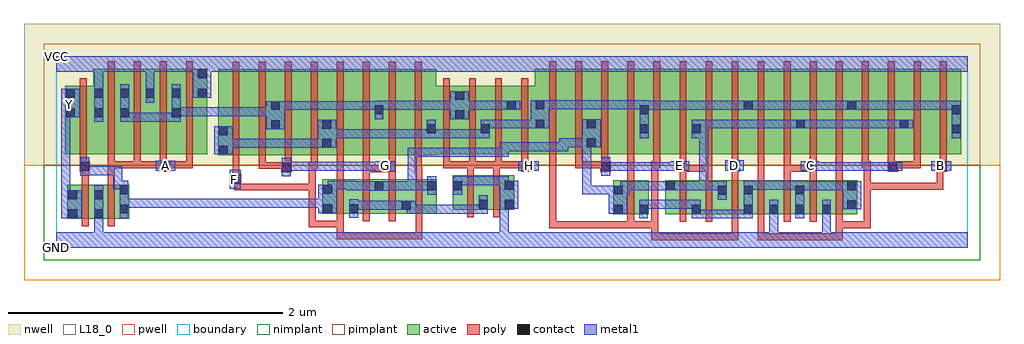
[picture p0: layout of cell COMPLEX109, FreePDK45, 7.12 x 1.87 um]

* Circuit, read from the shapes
.subckt COMPLEX109 A B C D E F G GND H VCC Y
M1 GND n1 Y VSUBS nfet w=0.25u l=0.05u
M2 n1 A GND VSUBS nfet w=0.25u l=0.05u
M3 n2 F n1 VSUBS nfet w=0.25u l=0.05u m=2
M4 n1 G n2 VSUBS nfet w=0.25u l=0.05u m=2
M5 n2 H GND VSUBS nfet w=0.25u l=0.05u m=2
M6 n3 D n1 VSUBS nfet w=0.25u l=0.05u m=2
M7 n3 E n1 VSUBS nfet w=0.25u l=0.05u m=2
M8 GND B n3 VSUBS nfet w=0.25u l=0.05u m=2
M9 n3 C GND VSUBS nfet w=0.25u l=0.05u m=2
M10 VCC n1 Y n4 pfet w=0.5u l=0.05u
M11 n5 A VCC n4 pfet w=0.625u l=0.05u m=4
M12 n6 F n7 n4 pfet w=0.625u l=0.05u
M13 n5 G n6 n4 pfet w=0.625u l=0.05u
M14 n8 G n5 n4 pfet w=0.625u l=0.05u
M15 n7 F n8 n4 pfet w=0.625u l=0.05u
M16 n9 F n7 n4 pfet w=0.625u l=0.05u
M17 n5 G n9 n4 pfet w=0.625u l=0.05u
M18 n10 G n5 n4 pfet w=0.625u l=0.05u
M19 n7 F n10 n4 pfet w=0.625u l=0.05u
M20 n5 H n7 n4 pfet w=0.5u l=0.05u m=4
M21 n11 D n7 n4 pfet w=0.625u l=0.05u
M22 n1 E n11 n4 pfet w=0.625u l=0.05u
M23 n12 E n1 n4 pfet w=0.625u l=0.05u
M24 n7 D n12 n4 pfet w=0.625u l=0.05u
M25 n13 D n7 n4 pfet w=0.625u l=0.05u
M26 n1 E n13 n4 pfet w=0.625u l=0.05u
M27 n14 E n1 n4 pfet w=0.625u l=0.05u
M28 n7 D n14 n4 pfet w=0.625u l=0.05u
M29 n15 B n7 n4 pfet w=0.625u l=0.05u
M30 n1 C n15 n4 pfet w=0.625u l=0.05u
M31 n16 C n1 n4 pfet w=0.625u l=0.05u
M32 n7 B n16 n4 pfet w=0.625u l=0.05u
M33 n17 B n7 n4 pfet w=0.625u l=0.05u
M34 n1 C n17 n4 pfet w=0.625u l=0.05u
M35 n18 C n1 n4 pfet w=0.625u l=0.05u
M36 n7 B n18 n4 pfet w=0.625u l=0.05u
.ends

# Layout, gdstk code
import gdstk
lib = gdstk.Library(unit=1e-6, precision=1e-09)
def R(c, l, rs):  # rectangles x0, y0, x1, y1
    for r in rs: c.add(gdstk.rectangle(r[:2], r[2:], *l))
def A(c, l, x, y, w, h, nx, ny, dx, dy):  # array of equal rectangles
    R(c, l, [(x+i*dx, y+j*dy, x+i*dx+w, y+j*dy+h) for i in range(nx) for j in range(ny)])
active = (1, 0)
pwell = (2, 0)
nwell = (3, 0)
nimplant = (4, 0)
pimplant = (5, 0)
poly = (9, 0)
contact = (10, 0)
metal1 = (11, 0)
L18_0 = (18, 0)
boundary = (235, 0)

complex109 = lib.new_cell('COMPLEX109')
A(complex109, active, 4.442, 0.245, 0.265, 0.25, 3, 1, 0.19, 0)
A(complex109, active, 1.787, 0.677, 0.225, 0.625, 3, 1, 0.38, 0)
A(complex109, active, 4.097, 0.682, 0.23, 0.625, 4, 1, 0.38, 0)
A(complex109, active, 4.252, 0.682, 0.225, 0.625, 4, 1, 0.38, 0)
A(complex109, active, 5.617, 0.682, 0.225, 0.625, 3, 1, 0.38, 0)
R(complex109, active, [(0.082,0.212,0.157,0.462), (0.082,0.212,0.347,0.462), (0.272,0.212,0.532,0.462), (0.272,0.212,0.347,0.427), (4.062,0.245,4.137,0.495), (4.062,0.245,4.322,0.495), (4.247,0.245,4.322,0.495), (4.632,0.245,4.707,0.467), (5.012,0.245,5.272,0.495), (5.012,0.245,5.087,0.46), (5.197,0.245,5.272,0.387), (5.197,0.245,5.462,0.495), (5.387,0.245,5.462,0.495), (5.387,0.245,5.657,0.495), (5.582,0.245,5.842,0.495), (5.582,0.245,5.657,0.387), (5.767,0.245,5.842,0.495), (0.457,0.247,0.532,0.462), (1.942,0.25,2.017,0.5), (1.942,0.25,2.207,0.5), (2.132,0.25,2.392,0.5), (2.132,0.25,2.207,0.387), (2.317,0.25,2.592,0.5), (2.517,0.25,2.777,0.5), (2.517,0.25,2.592,0.405), (2.892,0.28,3.152,0.53), (3.077,0.28,3.342,0.53), (3.077,0.28,3.152,0.355), (3.267,0.28,3.342,0.53), (2.317,0.297,2.392,0.5), (2.702,0.297,2.777,0.5), (2.892,0.297,2.967,0.53), (4.442,0.297,4.517,0.495), (4.822,0.297,4.897,0.457), (1.182,0.677,1.407,1.302), (1.182,0.677,1.287,1.047), (1.407,0.677,1.637,1.302), (1.562,0.677,1.787,1.302), (1.937,0.677,2.167,1.302), (1.937,0.677,2.012,1.07), (2.317,0.677,2.547,1.302), (0.067,0.682,0.142,1.182), (0.067,0.682,0.347,1.182), (0.272,0.682,0.537,1.307), (0.462,0.682,0.537,1.2), (0.462,0.682,0.722,1.307), (0.647,0.682,0.912,1.307), (0.647,0.682,0.722,1.282), (0.837,0.682,0.912,1.2), (0.837,0.682,1.102,1.307), (1.027,0.682,1.102,1.307), (1.562,0.682,1.637,1.2), (2.317,0.682,2.392,1.2), (2.697,0.682,2.98,1.182), (2.905,0.682,3.167,1.182), (3.092,0.682,3.357,1.182), (3.282,0.682,3.567,1.182), (3.492,0.682,3.717,1.307), (3.717,0.682,3.942,1.307), (3.867,0.682,4.097,1.307), (3.867,0.682,3.942,1.07), (4.252,0.682,4.327,1.2), (4.632,0.682,4.707,1.07), (5.012,0.682,5.087,1.2), (5.392,0.682,5.467,1.07), (5.767,0.682,5.842,1.2), (5.767,0.682,5.997,1.307), (6.147,0.682,6.377,1.307), (6.147,0.682,6.222,1.07), (6.527,0.682,6.602,1.2), (2.905,0.72,2.98,1.157), (3.282,0.72,3.357,1.157), (0.272,0.807,0.347,1.307), (2.697,0.807,2.772,1.07), (3.092,0.807,3.167,1.07), (3.492,0.807,3.567,1.2)])
R(complex109, pwell, [(-0.235,-0.235,6.885,0.602)])
R(complex109, nwell, [(-0.235,0.602,6.885,1.635)])
R(complex109, nimplant, [(-0.09,-0.09,6.74,0.602)])
R(complex109, pimplant, [(-0.09,0.602,6.74,1.49)])
A(complex109, poly, 4.547, 0.19, 0.05, 0.36, 7, 1, 0.19, 0)
A(complex109, poly, 2.047, 0.195, 0.05, 0.36, 3, 1, 0.19, 0)
A(complex109, poly, 4.547, 0.5, 0.05, 0.107, 3, 1, 0.19, 0)
A(complex109, poly, 1.477, 0.577, 0.05, 0.095, 4, 1, 0.19, 0)
A(complex109, poly, 0.377, 0.582, 0.05, 0.095, 4, 1, 0.19, 0)
A(complex109, poly, 2.822, 0.582, 0.05, 0.095, 4, 1, 0.19, 0)
A(complex109, poly, 5.117, 0.582, 0.05, 0.095, 3, 1, 0.38, 0)
A(complex109, poly, 6.067, 0.582, 0.05, 0.095, 3, 1, 0.19, 0)
A(complex109, poly, 1.287, 0.622, 0.05, 0.735, 8, 1, 0.19, 0)
A(complex109, poly, 0.377, 0.627, 0.05, 0.735, 4, 1, 0.19, 0)
A(complex109, poly, 2.822, 0.627, 0.05, 0.61, 4, 1, 0.19, 0)
A(complex109, poly, 3.597, 0.627, 0.05, 0.735, 16, 1, 0.19, 0)
R(complex109, poly, [(4.342,0.057,4.525,0.107), (4.342,0.057,4.392,0.195), (4.475,0.057,4.525,0.107), (4.475,0.057,4.525,0.107), (4.475,0.057,4.525,0.107), (4.475,0.057,4.83,0.107), (4.78,0.057,4.83,0.107), (4.78,0.057,4.83,0.107), (4.78,0.057,4.83,0.107), (4.78,0.057,4.977,0.107), (4.927,0.057,4.977,0.107), (4.927,0.057,4.977,0.107), (4.927,0.057,4.977,0.107), (4.927,0.057,4.977,0.24), (5.117,0.057,5.167,0.107), (5.117,0.057,5.167,0.107), (5.117,0.057,5.167,0.107), (5.117,0.057,5.38,0.107), (5.117,0.057,5.167,0.24), (5.33,0.057,5.38,0.107), (5.33,0.057,5.38,0.107), (5.33,0.057,5.38,0.107), (5.33,0.057,5.605,0.107), (5.555,0.057,5.605,0.107), (5.555,0.057,5.737,0.107), (5.687,0.057,5.737,0.107), (5.687,0.057,5.737,0.107), (5.687,0.057,5.737,0.195), (2.047,0.062,2.23,0.112), (2.047,0.062,2.097,0.2), (2.18,0.062,2.23,0.112), (2.18,0.062,2.23,0.112), (2.18,0.062,2.23,0.112), (2.18,0.062,2.42,0.112), (2.37,0.062,2.42,0.112), (2.37,0.062,2.42,0.112), (2.37,0.062,2.42,0.112), (2.37,0.062,2.672,0.112), (2.622,0.062,2.672,0.112), (2.622,0.062,2.672,0.112), (2.622,0.062,2.672,0.112), (2.622,0.062,2.672,0.245), (3.597,0.145,3.647,0.195), (3.597,0.145,3.647,0.195), (3.597,0.145,3.647,0.195), (3.597,0.145,3.647,0.195), (3.597,0.145,3.647,0.195), (3.597,0.145,3.647,0.195), (3.597,0.145,3.647,0.195), (3.597,0.145,3.647,0.195), (3.597,0.145,3.647,0.195), (3.597,0.145,3.887,0.195), (3.597,0.145,3.647,0.677), (3.837,0.145,3.887,0.195), (3.837,0.145,3.887,0.195), (3.837,0.145,3.887,0.195), (3.837,0.145,4.085,0.195), (4.035,0.145,4.085,0.195), (4.035,0.145,4.217,0.195), (4.167,0.145,4.217,0.24), (4.167,0.145,4.217,0.195), (4.167,0.145,4.217,0.195), (4.167,0.145,4.217,0.195), (4.167,0.145,4.392,0.195), (4.342,0.145,4.392,0.195), (4.342,0.145,4.392,0.195), (4.342,0.145,4.392,0.195), (4.342,0.145,4.392,0.195), (4.342,0.145,4.392,0.195), (4.342,0.145,4.392,0.195), (4.342,0.145,4.392,0.632), (5.687,0.145,5.737,0.24), (5.687,0.145,5.942,0.195), (5.892,0.145,5.942,0.195), (5.892,0.145,5.942,0.195), (5.892,0.145,5.942,0.195), (5.892,0.145,5.942,0.475), (1.842,0.15,2.097,0.2), (1.842,0.15,1.892,0.47), (2.047,0.15,2.097,0.245), (2.047,0.15,2.097,0.2), (2.047,0.15,2.097,0.2), (0.187,0.157,0.237,0.517), (0.377,0.157,0.427,0.517), (4.167,0.19,4.217,0.55), (2.622,0.195,2.672,0.555), (2.997,0.225,3.047,0.585), (3.187,0.225,3.237,0.585), (1.3,0.42,1.35,0.515), (1.3,0.42,1.35,0.47), (1.3,0.42,1.35,0.47), (1.3,0.42,1.35,0.47), (1.3,0.42,1.35,0.47), (1.3,0.42,1.35,0.47), (1.3,0.42,1.35,0.47), (1.3,0.42,1.35,0.47), (1.3,0.42,1.482,0.47), (1.432,0.42,1.482,0.47), (1.432,0.42,1.482,0.47), (1.432,0.42,1.482,0.47), (1.432,0.42,1.76,0.47), (1.71,0.42,1.76,0.47), (1.71,0.42,1.892,0.47), (1.842,0.42,1.892,0.47), (1.842,0.42,1.892,0.47), (1.842,0.42,1.892,0.47), (1.842,0.42,1.892,0.47), (1.842,0.42,1.892,0.47), (1.842,0.42,1.892,0.47), (1.842,0.42,1.892,0.627), (5.892,0.425,5.942,0.475), (5.892,0.425,6.075,0.475), (5.892,0.425,5.942,0.632), (6.025,0.425,6.075,0.475), (6.025,0.425,6.075,0.475), (6.025,0.425,6.075,0.475), (6.025,0.425,6.275,0.475), (6.225,0.425,6.275,0.475), (6.225,0.425,6.275,0.475), (6.225,0.425,6.275,0.475), (6.225,0.425,6.472,0.475), (6.422,0.425,6.472,0.607), (6.422,0.425,6.472,0.475), (6.422,0.425,6.472,0.475), (6.422,0.425,6.472,0.475), (6.422,0.425,6.472,0.475), (6.422,0.425,6.472,0.475), (1.275,0.465,1.35,0.54), (0.187,0.467,0.237,0.607), (0.377,0.467,0.427,0.632), (1.287,0.49,1.337,0.672), (4.167,0.5,4.217,0.595), (5.117,0.5,5.167,0.632), (5.307,0.5,5.357,0.607), (5.497,0.5,5.547,0.607), (5.687,0.5,5.737,0.595), (2.047,0.505,2.097,0.627), (2.237,0.505,2.287,0.602), (2.427,0.505,2.477,0.602), (2.622,0.505,2.672,0.6), (2.997,0.535,3.047,0.632), (3.187,0.535,3.237,0.632), (4.167,0.545,4.217,0.595), (4.167,0.545,4.217,0.677), (5.687,0.545,5.737,0.595), (5.687,0.545,5.737,0.677), (2.617,0.55,2.667,0.672), (2.617,0.55,2.672,0.6), (1.642,0.552,1.717,0.627), (2.237,0.552,2.287,0.602), (2.237,0.552,2.42,0.602), (2.237,0.552,2.287,0.672), (2.37,0.552,2.42,0.602), (2.37,0.552,2.42,0.602), (2.37,0.552,2.477,0.627), (0.17,0.557,0.245,0.632), (0.757,0.557,0.832,0.632), (3.392,0.557,3.477,0.632), (3.97,0.557,4.045,0.632), (4.512,0.557,4.597,0.632), (4.547,0.557,4.787,0.607), (4.737,0.557,4.787,0.607), (4.737,0.557,4.787,0.607), (4.737,0.557,4.787,0.607), (4.737,0.557,4.787,0.677), (4.912,0.557,4.987,0.632), (5.307,0.557,5.357,0.607), (5.307,0.557,5.357,0.607), (5.307,0.557,5.357,0.607), (5.307,0.557,5.512,0.607), (5.307,0.557,5.357,0.677), (5.462,0.557,5.547,0.632), (6.067,0.557,6.142,0.632), (6.422,0.557,6.497,0.632), (1.477,0.577,1.527,0.627), (1.477,0.577,1.527,0.627), (1.477,0.577,1.527,0.627), (1.477,0.577,1.692,0.627), (1.842,0.577,1.907,0.627), (2.047,0.577,2.097,0.627), (2.427,0.577,2.477,0.672), (0.172,0.582,0.222,0.677), (0.377,0.582,0.427,0.632), (0.377,0.582,0.617,0.632), (0.567,0.582,0.617,0.632), (0.567,0.582,0.617,0.632), (0.567,0.582,0.617,0.632), (0.567,0.582,0.807,0.632), (0.757,0.582,0.807,0.632), (0.757,0.582,0.807,0.632), (0.782,0.582,0.997,0.632), (0.947,0.582,0.997,0.632), (0.947,0.582,0.997,0.632), (0.947,0.582,0.997,0.632), (2.822,0.582,2.872,0.632), (2.822,0.582,3.047,0.632), (2.997,0.582,3.047,0.632), (2.997,0.582,3.047,0.632), (2.997,0.582,3.062,0.632), (3.012,0.582,3.237,0.632), (3.187,0.582,3.237,0.632), (3.187,0.582,3.237,0.632), (3.187,0.582,3.252,0.632), (3.202,0.582,3.442,0.632), (3.392,0.582,3.442,0.632), (3.392,0.582,3.442,0.632), (3.787,0.582,3.837,0.677), (3.787,0.582,3.837,0.632), (3.787,0.582,3.837,0.632), (3.787,0.582,3.837,0.632), (3.787,0.582,4.02,0.632), (3.977,0.582,4.027,0.677), (4.342,0.582,4.407,0.632), (4.357,0.582,4.407,0.677), (4.547,0.582,4.597,0.677), (4.927,0.582,4.977,0.677), (5.117,0.582,5.167,0.632), (5.877,0.582,5.942,0.632), (5.892,0.582,5.942,0.632), (5.892,0.582,5.942,0.632), (6.092,0.582,6.307,0.632), (6.257,0.582,6.307,0.632), (6.257,0.582,6.307,0.632), (6.257,0.582,6.307,0.632), (0.172,0.627,0.222,1.237)])
R(complex109, contact, [(0.087,0.217,0.152,0.282), (0.277,0.217,0.342,0.282), (4.067,0.25,4.132,0.315), (4.252,0.25,4.317,0.315), (4.637,0.25,4.702,0.315), (5.017,0.25,5.082,0.315), (5.202,0.25,5.267,0.315), (5.392,0.25,5.457,0.315), (5.587,0.25,5.652,0.315), (0.462,0.252,0.527,0.317), (1.947,0.255,2.012,0.32), (2.137,0.255,2.202,0.32), (2.522,0.28,2.587,0.345), (5.772,0.282,5.837,0.347), (3.082,0.285,3.147,0.35), (3.272,0.285,3.337,0.35), (0.087,0.357,0.152,0.422), (0.277,0.357,0.342,0.422), (4.827,0.387,4.892,0.452), (4.067,0.39,4.132,0.455), (5.017,0.39,5.082,0.455), (5.392,0.39,5.457,0.455), (0.462,0.392,0.527,0.457), (1.947,0.395,2.012,0.46), (2.322,0.417,2.387,0.482), (2.707,0.422,2.772,0.487), (2.897,0.422,2.962,0.487), (4.447,0.422,4.512,0.487), (5.772,0.422,5.837,0.487), (3.272,0.425,3.337,0.49), (1.28,0.47,1.345,0.535), (1.647,0.557,1.712,0.622), (2.375,0.557,2.44,0.622), (0.175,0.562,0.24,0.627), (0.762,0.562,0.827,0.627), (3.407,0.562,3.472,0.627), (3.975,0.562,4.04,0.627), (4.517,0.562,4.582,0.627), (4.917,0.562,4.982,0.627), (5.467,0.562,5.532,0.627), (6.072,0.562,6.137,0.627), (6.427,0.562,6.492,0.627), (1.187,0.682,1.252,0.747), (1.942,0.73,2.007,0.795), (3.872,0.735,3.937,0.8), (1.187,0.822,1.252,0.887), (6.532,0.835,6.597,0.9), (2.702,0.837,2.767,0.902), (3.097,0.837,3.162,0.902), (4.257,0.837,4.322,0.902), (4.637,0.837,4.702,0.902), (1.567,0.867,1.632,0.932), (1.942,0.87,2.007,0.935), (3.497,0.872,3.562,0.937), (5.397,0.872,5.462,0.937), (6.152,0.872,6.217,0.937), (3.872,0.875,3.937,0.94), (2.91,0.94,2.975,1.005), (0.072,0.955,0.137,1.02), (0.277,0.955,0.342,1.02), (0.467,0.955,0.532,1.02), (0.842,0.955,0.907,1.02), (2.322,0.975,2.387,1.04), (6.532,0.975,6.597,1.04), (4.257,0.977,4.322,1.042), (1.567,1.007,1.632,1.072), (3.287,1.01,3.352,1.075), (5.017,1.01,5.082,1.075), (5.772,1.01,5.837,1.075), (3.497,1.012,3.562,1.077), (2.91,1.08,2.975,1.145), (0.072,1.095,0.137,1.16), (0.277,1.095,0.342,1.16), (0.467,1.095,0.532,1.16), (0.652,1.095,0.717,1.16), (0.842,1.095,0.907,1.16), (1.032,1.097,1.097,1.162), (1.032,1.237,1.097,1.302)])
R(complex109, metal1, [(0,0,6.65,0.115), (0.277,0.05,0.342,0.115), (0.277,0.05,0.342,0.115), (0.277,0.05,0.342,0.247), (3.237,0.05,3.302,0.115), (3.237,0.05,3.302,0.115), (3.237,0.05,3.302,0.115), (3.237,0.05,3.302,0.115), (3.237,0.05,3.302,0.35), (5.202,0.05,5.267,0.115), (5.202,0.05,5.267,0.115), (5.202,0.05,5.267,0.115), (5.202,0.05,5.267,0.115), (5.202,0.05,5.267,0.28), (5.587,0.05,5.652,0.115), (5.587,0.05,5.652,0.115), (5.587,0.05,5.652,0.115), (5.587,0.05,5.652,0.115), (5.587,0.05,5.652,0.28), (0.277,0.182,0.342,0.247), (0.277,0.182,0.342,0.247), (0.277,0.182,0.342,0.457), (4.252,0.215,4.317,0.35), (4.637,0.215,4.772,0.28), (4.637,0.215,4.702,0.35), (4.707,0.215,4.772,0.28), (4.707,0.215,4.91,0.28), (4.845,0.215,4.91,0.28), (4.845,0.215,4.91,0.28), (4.845,0.215,4.91,0.28), (4.845,0.215,5.082,0.28), (5.017,0.215,5.082,0.49), (5.202,0.215,5.267,0.35), (5.392,0.215,5.457,0.49), (5.587,0.215,5.652,0.35), (0.037,0.217,0.187,0.422), (0.462,0.217,0.527,0.492), (2.137,0.22,2.202,0.355), (2.557,0.25,2.772,0.315), (2.557,0.25,2.622,0.345), (2.707,0.25,2.772,0.315), (2.707,0.25,2.772,0.315), (2.707,0.25,2.772,0.315), (2.707,0.25,2.91,0.315), (2.845,0.25,2.91,0.315), (2.845,0.25,2.91,0.315), (2.845,0.25,2.91,0.315), (2.845,0.25,3.147,0.315), (3.082,0.25,3.147,0.385), (4.032,0.25,4.167,0.455), (1.912,0.255,2.047,0.46), (2.137,0.28,2.202,0.345), (2.137,0.28,2.202,0.345), (2.137,0.28,2.415,0.345), (2.35,0.28,2.415,0.345), (2.35,0.28,2.415,0.345), (2.35,0.28,2.415,0.345), (2.35,0.28,2.552,0.345), (2.487,0.28,2.622,0.345), (2.557,0.28,2.622,0.345), (5.737,0.282,5.872,0.487), (3.237,0.285,3.372,0.49), (4.252,0.285,4.317,0.35), (4.252,0.285,4.317,0.35), (4.252,0.285,4.565,0.35), (4.5,0.285,4.565,0.35), (4.5,0.285,4.565,0.35), (4.5,0.285,4.565,0.35), (4.5,0.285,4.702,0.35), (0.462,0.295,0.617,0.36), (0.552,0.295,0.617,0.36), (0.552,0.295,0.755,0.36), (0.69,0.295,0.755,0.36), (0.69,0.295,0.755,0.36), (0.69,0.295,0.755,0.36), (0.69,0.295,0.755,0.36), (0.69,0.295,0.755,0.36), (0.69,0.295,0.907,0.36), (0.842,0.295,0.907,0.36), (0.842,0.295,0.907,0.36), (0.842,0.295,0.907,0.36), (0.842,0.295,1.045,0.36), (0.98,0.295,1.045,0.36), (0.98,0.295,1.045,0.36), (0.98,0.295,1.045,0.36), (0.98,0.295,1.182,0.36), (1.117,0.295,1.182,0.36), (1.117,0.295,1.445,0.36), (1.38,0.295,1.445,0.36), (1.38,0.295,1.445,0.36), (1.38,0.295,1.445,0.36), (1.38,0.295,1.667,0.36), (1.602,0.295,1.667,0.36), (1.602,0.295,1.667,0.36), (1.602,0.295,1.667,0.36), (1.602,0.295,1.835,0.36), (1.77,0.295,1.835,0.36), (1.77,0.295,1.85,0.36), (1.785,0.295,1.85,0.36), (1.785,0.295,1.977,0.36), (4.827,0.352,4.892,0.487), (0.037,0.357,0.102,0.422), (0.037,0.357,0.102,0.422), (0.037,0.357,0.102,0.422), (0.037,0.357,0.102,0.422), (0.037,0.357,0.102,1.02), (2.707,0.387,2.772,0.522), (2.897,0.387,2.962,0.522), (3.837,0.39,3.902,0.455), (3.837,0.39,3.902,0.455), (3.837,0.39,3.902,0.455), (3.837,0.39,4.097,0.455), (3.837,0.39,3.902,0.8), (4.102,0.39,4.18,0.455), (4.115,0.39,4.18,0.487), (1.982,0.395,2.047,0.492), (2.287,0.417,2.422,0.485), (2.12,0.42,2.352,0.485), (2.12,0.42,2.185,0.492), (2.357,0.42,2.422,0.485), (2.357,0.42,2.422,0.485), (2.357,0.42,2.63,0.485), (2.565,0.42,2.63,0.485), (2.565,0.42,2.63,0.485), (2.565,0.42,2.63,0.485), (2.565,0.42,2.772,0.485), (2.565,0.42,2.63,0.73), (4.115,0.422,4.317,0.487), (4.252,0.422,4.317,0.487), (4.252,0.422,4.317,0.487), (4.252,0.422,4.317,0.487), (4.252,0.422,4.477,0.487), (4.412,0.422,4.547,0.487), (4.482,0.422,4.547,0.487), (4.482,0.422,4.547,0.487), (4.482,0.422,4.755,0.487), (4.69,0.422,4.755,0.487), (4.69,0.422,4.755,0.487), (4.69,0.422,4.755,0.487), (4.69,0.422,4.892,0.487), (4.69,0.422,4.755,0.867), (5.392,0.422,5.635,0.487), (5.57,0.422,5.635,0.487), (5.57,0.422,5.635,0.487), (5.57,0.422,5.635,0.487), (5.57,0.422,5.802,0.487), (5.737,0.422,5.802,0.487), (5.737,0.422,5.802,0.487), (3.237,0.425,3.302,0.522), (5.017,0.425,5.082,0.49), (5.017,0.425,5.082,0.49), (5.017,0.425,5.082,0.49), (5.017,0.425,5.082,0.49), (5.017,0.425,5.29,0.49), (5.225,0.425,5.29,0.49), (5.225,0.425,5.29,0.49), (5.225,0.425,5.29,0.49), (5.225,0.425,5.457,0.49), (0.415,0.427,0.527,0.492), (0.415,0.427,0.48,0.595), (1.982,0.427,2.047,0.492), (1.982,0.427,2.047,0.492), (1.982,0.427,2.047,0.492), (1.982,0.427,2.185,0.492), (2.12,0.427,2.185,0.492), (2.12,0.427,2.185,0.492), (1.267,0.432,1.345,0.57), (2.897,0.457,2.962,0.522), (2.897,0.457,2.962,0.522), (2.897,0.457,3.147,0.522), (3.082,0.457,3.147,0.522), (3.082,0.457,3.147,0.522), (3.082,0.457,3.147,0.522), (3.082,0.457,3.302,0.522), (3.237,0.457,3.302,0.522), (1.647,0.522,1.712,0.657), (0.175,0.527,0.24,0.662), (3.975,0.527,4.04,0.662), (0.175,0.53,0.39,0.595), (0.325,0.53,0.39,0.595), (0.325,0.53,0.39,0.595), (0.325,0.53,0.39,0.595), (0.325,0.53,0.48,0.595), (2.332,0.557,2.475,0.632), (0.727,0.562,0.867,0.637), (3.372,0.562,3.52,0.632), (3.975,0.562,4.04,0.627), (3.975,0.562,4.04,0.627), (3.975,0.562,4.18,0.627), (4.115,0.562,4.18,0.627), (4.115,0.562,4.317,0.627), (4.252,0.562,4.317,0.627), (4.252,0.562,4.317,0.627), (4.252,0.562,4.317,0.627), (4.252,0.562,4.547,0.627), (4.482,0.562,4.547,0.627), (4.482,0.562,4.547,0.627), (4.482,0.562,4.617,0.632), (4.882,0.562,5.017,0.64), (5.432,0.562,5.567,0.632), (5.502,0.562,5.665,0.627), (5.6,0.562,5.665,0.627), (5.6,0.562,5.802,0.627), (5.737,0.562,5.802,0.627), (5.737,0.562,5.802,0.627), (5.737,0.562,5.802,0.627), (5.737,0.562,5.965,0.627), (5.9,0.562,5.965,0.627), (5.9,0.562,6.01,0.627), (5.945,0.562,6.01,0.627), (5.945,0.562,6.102,0.627), (6.037,0.562,6.172,0.627), (6.382,0.562,6.53,0.632), (1.647,0.565,1.835,0.63), (1.77,0.565,1.835,0.63), (1.77,0.565,1.85,0.63), (1.785,0.565,1.85,0.63), (1.785,0.565,1.987,0.63), (1.922,0.565,1.987,0.63), (1.922,0.565,1.987,0.63), (1.922,0.565,1.987,0.63), (1.922,0.565,2.185,0.63), (2.12,0.565,2.185,0.63), (2.12,0.565,2.185,0.63), (2.12,0.565,2.185,0.63), (2.12,0.565,2.397,0.63), (2.332,0.565,2.397,0.63), (2.332,0.565,2.397,0.63), (2.565,0.665,2.63,0.73), (2.565,0.665,2.63,0.73), (2.565,0.665,2.63,0.73), (2.565,0.665,2.63,0.73), (2.565,0.665,2.63,0.73), (2.565,0.665,2.772,0.73), (2.707,0.665,2.772,0.73), (2.707,0.665,2.772,0.73), (2.707,0.665,2.772,0.73), (2.707,0.665,2.91,0.73), (2.845,0.665,2.91,0.73), (2.845,0.665,2.91,0.73), (2.845,0.665,2.91,0.73), (2.845,0.665,3.162,0.73), (3.097,0.665,3.162,0.73), (3.097,0.665,3.162,0.73), (3.097,0.665,3.162,0.73), (3.097,0.665,3.3,0.73), (3.235,0.665,3.3,0.77), (1.152,0.682,1.287,0.887), (3.235,0.705,3.3,0.77), (3.235,0.705,3.3,0.77), (3.235,0.705,3.437,0.77), (3.372,0.705,3.437,0.77), (3.372,0.705,3.437,0.77), (3.372,0.705,3.437,0.77), (3.372,0.705,3.735,0.77), (3.67,0.705,3.735,0.77), (3.67,0.705,3.735,0.77), (3.67,0.705,3.735,0.8), (1.222,0.73,1.287,0.795), (1.222,0.73,1.287,0.795), (1.222,0.73,1.425,0.795), (1.36,0.73,1.425,0.795), (1.36,0.73,1.425,0.795), (1.36,0.73,1.425,0.795), (1.36,0.73,1.582,0.795), (1.517,0.73,1.582,0.795), (1.517,0.73,1.582,0.795), (1.517,0.73,1.582,0.795), (1.517,0.73,1.805,0.795), (1.74,0.73,1.805,0.795), (1.74,0.73,1.85,0.795), (1.785,0.73,1.85,0.795), (1.785,0.73,1.972,0.795), (1.907,0.73,2.042,0.935), (3.67,0.735,3.902,0.8), (3.837,0.735,3.902,0.8), (3.837,0.735,3.902,0.8), (3.837,0.735,3.972,0.94), (6.532,0.8,6.597,1.075), (1.977,0.802,2.042,0.867), (1.977,0.802,2.042,0.867), (1.977,0.802,2.215,0.867), (2.15,0.802,2.215,0.867), (2.15,0.802,2.215,0.867), (2.15,0.802,2.215,0.867), (2.15,0.802,2.415,0.867), (2.35,0.802,2.415,0.867), (2.35,0.802,2.415,0.867), (2.35,0.802,2.415,0.867), (2.35,0.802,2.612,0.867), (2.547,0.802,2.612,0.867), (2.547,0.802,2.612,0.867), (2.547,0.802,2.612,0.867), (2.547,0.802,2.767,0.867), (2.702,0.802,2.767,0.867), (2.702,0.802,2.767,0.867), (2.702,0.802,2.767,0.937), (2.702,0.802,2.91,0.867), (2.845,0.802,2.91,0.867), (2.845,0.802,2.91,0.867), (2.845,0.802,2.91,0.867), (2.845,0.802,3.162,0.867), (3.097,0.802,3.162,0.937), (4.257,0.802,4.322,1.077), (4.637,0.802,4.755,0.937), (4.69,0.802,4.755,0.867), (4.69,0.802,4.755,0.867), (1.532,0.867,1.667,1.072), (3.097,0.872,3.162,0.937), (3.097,0.872,3.162,0.937), (3.097,0.872,3.3,0.937), (3.235,0.872,3.3,0.937), (3.235,0.872,3.3,0.937), (3.235,0.872,3.3,0.937), (3.235,0.872,3.527,0.937), (3.462,0.872,3.597,1.077), (4.69,0.872,4.755,0.937), (4.69,0.872,4.755,0.937), (4.69,0.872,4.91,0.937), (4.845,0.872,4.91,0.937), (4.845,0.872,4.91,0.937), (4.845,0.872,4.91,0.937), (4.845,0.872,5.13,0.937), (5.065,0.872,5.13,0.937), (5.065,0.872,5.13,0.937), (5.065,0.872,5.13,0.937), (5.065,0.872,5.267,0.937), (5.202,0.872,5.267,0.937), (5.202,0.872,5.267,0.937), (5.202,0.872,5.267,0.937), (5.202,0.872,5.427,0.937), (5.362,0.872,5.497,0.937), (5.432,0.872,5.497,0.937), (5.432,0.872,5.497,0.937), (5.432,0.872,5.635,0.937), (5.57,0.872,5.635,0.937), (5.57,0.872,5.802,0.937), (5.737,0.872,5.802,0.937), (5.737,0.872,5.802,0.937), (5.737,0.872,5.802,0.937), (5.737,0.872,5.94,0.937), (5.875,0.872,5.94,0.937), (5.875,0.872,6.045,0.937), (5.98,0.872,6.045,0.937), (5.98,0.872,6.172,0.937), (6.107,0.872,6.172,0.937), (6.107,0.872,6.182,0.937), (6.117,0.872,6.252,0.937), (0.277,0.92,0.342,1.195), (0.467,0.92,0.532,1.195), (0.842,0.92,0.907,1.195), (0.467,0.922,0.617,0.987), (0.552,0.922,0.617,0.987), (0.552,0.922,0.77,0.987), (0.705,0.922,0.77,0.987), (0.705,0.922,0.77,0.987), (0.705,0.922,0.77,0.987), (0.705,0.922,0.907,0.987), (2.322,0.94,2.387,1.075), (2.875,0.94,3.01,1.145), (0.037,0.955,0.172,1.16), (0.842,0.96,0.907,1.025), (0.842,0.96,0.907,1.025), (0.842,0.96,1.045,1.025), (0.98,0.96,1.045,1.025), (0.98,0.96,1.045,1.025), (0.98,0.96,1.045,1.025), (0.98,0.96,1.182,1.025), (1.117,0.96,1.182,1.025), (1.117,0.96,1.425,1.025), (1.36,0.96,1.425,1.025), (1.36,0.96,1.425,1.025), (1.36,0.96,1.425,1.025), (1.36,0.96,1.597,1.025), (1.602,1.007,1.667,1.072), (1.602,1.007,1.667,1.072), (1.602,1.007,1.835,1.072), (1.77,1.007,1.835,1.072), (1.77,1.007,1.85,1.072), (1.785,1.007,1.85,1.072), (1.785,1.007,1.987,1.072), (1.922,1.007,1.987,1.072), (1.922,1.007,1.987,1.072), (1.922,1.007,1.987,1.072), (1.922,1.007,2.185,1.072), (2.12,1.007,2.185,1.072), (2.12,1.007,2.185,1.072), (2.12,1.007,2.185,1.072), (2.12,1.007,2.387,1.072), (2.322,1.01,2.387,1.075), (2.322,1.01,2.387,1.075), (2.322,1.01,2.63,1.075), (2.565,1.01,2.63,1.075), (2.565,1.01,2.63,1.075), (2.565,1.01,2.63,1.075), (2.565,1.01,2.767,1.075), (2.702,1.01,2.767,1.075), (2.702,1.01,2.767,1.075), (2.702,1.01,2.767,1.075), (2.702,1.01,2.94,1.075), (2.945,1.01,3.01,1.075), (2.945,1.01,3.01,1.075), (2.945,1.01,3.147,1.075), (3.082,1.01,3.147,1.075), (3.082,1.01,3.147,1.075), (3.082,1.01,3.147,1.075), (3.082,1.01,3.317,1.075), (3.252,1.01,3.387,1.075), (4.257,1.01,4.322,1.075), (4.257,1.01,4.322,1.075), (4.257,1.01,4.565,1.075), (4.5,1.01,4.565,1.075), (4.5,1.01,4.565,1.075), (4.5,1.01,4.565,1.075), (4.5,1.01,4.755,1.075), (4.69,1.01,4.755,1.075), (4.69,1.01,4.755,1.075), (4.69,1.01,4.755,1.075), (4.69,1.01,4.91,1.075), (4.845,1.01,4.91,1.075), (4.845,1.01,4.91,1.075), (4.845,1.01,4.91,1.075), (4.845,1.01,5.047,1.075), (4.982,1.01,5.117,1.075), (5.052,1.01,5.117,1.075), (5.052,1.01,5.117,1.075), (5.052,1.01,5.29,1.075), (5.225,1.01,5.29,1.075), (5.225,1.01,5.29,1.075), (5.225,1.01,5.29,1.075), (5.225,1.01,5.497,1.075), (5.432,1.01,5.497,1.075), (5.432,1.01,5.665,1.075), (5.6,1.01,5.665,1.075), (5.6,1.01,5.665,1.075), (5.6,1.01,5.665,1.075), (5.6,1.01,5.802,1.075), (5.737,1.01,5.802,1.075), (5.737,1.01,5.802,1.075), (5.737,1.01,5.872,1.075), (5.807,1.01,5.965,1.075), (5.9,1.01,5.965,1.075), (5.9,1.01,6.045,1.075), (5.98,1.01,6.045,1.075), (5.98,1.01,6.102,1.075), (6.037,1.01,6.102,1.075), (6.037,1.01,6.31,1.075), (6.245,1.01,6.31,1.075), (6.245,1.01,6.31,1.075), (6.245,1.01,6.31,1.075), (6.245,1.01,6.46,1.075), (6.395,1.01,6.46,1.075), (6.395,1.01,6.597,1.075), (6.532,1.01,6.597,1.075), (6.532,1.01,6.597,1.075), (3.532,1.012,3.597,1.077), (3.532,1.012,3.597,1.077), (3.532,1.012,3.735,1.077), (3.67,1.012,3.735,1.077), (3.67,1.012,3.735,1.077), (3.67,1.012,3.735,1.077), (3.67,1.012,3.872,1.077), (3.807,1.012,3.872,1.077), (3.807,1.012,3.872,1.077), (3.807,1.012,3.872,1.077), (3.807,1.012,4.18,1.077), (4.115,1.012,4.18,1.077), (4.115,1.012,4.18,1.077), (4.115,1.012,4.18,1.077), (4.115,1.012,4.322,1.077), (0.652,1.06,0.717,1.195), (0.997,1.097,1.132,1.302), (0.277,1.13,0.342,1.35), (0.652,1.13,0.717,1.35), (1.067,1.237,1.132,1.35), (0,1.285,6.65,1.4)])
R(complex109, L18_0, [(0,0,6.65,0.115), (0.277,0.05,0.342,0.115), (0.277,0.05,0.342,0.115), (0.277,0.05,0.342,0.247), (3.237,0.05,3.302,0.115), (3.237,0.05,3.302,0.115), (3.237,0.05,3.302,0.115), (3.237,0.05,3.302,0.115), (3.237,0.05,3.302,0.35), (5.202,0.05,5.267,0.115), (5.202,0.05,5.267,0.115), (5.202,0.05,5.267,0.115), (5.202,0.05,5.267,0.115), (5.202,0.05,5.267,0.28), (5.587,0.05,5.652,0.115), (5.587,0.05,5.652,0.115), (5.587,0.05,5.652,0.115), (5.587,0.05,5.652,0.115), (5.587,0.05,5.652,0.28), (0.277,0.182,0.342,0.247), (0.277,0.182,0.342,0.247), (0.277,0.182,0.342,0.457), (5.202,0.215,5.267,0.35), (5.587,0.215,5.652,0.35), (0.037,0.217,0.187,0.422), (3.237,0.285,3.372,0.49), (0.037,0.357,0.102,0.422), (0.037,0.357,0.102,0.422), (0.037,0.357,0.102,0.422), (0.037,0.357,0.102,0.422), (0.037,0.357,0.102,1.02), (2.897,0.387,2.962,0.522), (3.237,0.425,3.302,0.522), (1.267,0.432,1.345,0.57), (2.897,0.457,2.962,0.522), (2.897,0.457,2.962,0.522), (2.897,0.457,3.147,0.522), (3.082,0.457,3.147,0.522), (3.082,0.457,3.147,0.522), (3.082,0.457,3.147,0.522), (3.082,0.457,3.302,0.522), (3.237,0.457,3.302,0.522), (1.267,0.467,1.332,0.532), (1.647,0.522,1.712,0.657), (3.975,0.527,4.04,0.662), (2.332,0.557,2.475,0.632), (0.727,0.562,0.867,0.637), (3.372,0.562,3.52,0.632), (3.975,0.562,4.04,0.627), (3.975,0.562,4.04,0.627), (3.975,0.562,4.18,0.627), (4.115,0.562,4.18,0.627), (4.115,0.562,4.317,0.627), (4.252,0.562,4.317,0.627), (4.252,0.562,4.317,0.627), (4.252,0.562,4.317,0.627), (4.252,0.562,4.547,0.627), (4.482,0.562,4.547,0.627), (4.482,0.562,4.547,0.627), (4.482,0.562,4.617,0.632), (4.882,0.562,5.017,0.64), (5.432,0.562,5.567,0.632), (5.502,0.562,5.665,0.627), (5.6,0.562,5.665,0.627), (5.6,0.562,5.802,0.627), (5.737,0.562,5.802,0.627), (5.737,0.562,5.802,0.627), (5.737,0.562,5.802,0.627), (5.737,0.562,5.965,0.627), (5.9,0.562,5.965,0.627), (5.9,0.562,6.01,0.627), (5.945,0.562,6.01,0.627), (5.945,0.562,6.102,0.627), (6.037,0.562,6.172,0.627), (6.382,0.562,6.53,0.632), (1.647,0.565,1.835,0.63), (1.77,0.565,1.835,0.63), (1.77,0.565,1.85,0.63), (1.785,0.565,1.85,0.63), (1.785,0.565,1.987,0.63), (1.922,0.565,1.987,0.63), (1.922,0.565,1.987,0.63), (1.922,0.565,1.987,0.63), (1.922,0.565,2.185,0.63), (2.12,0.565,2.185,0.63), (2.12,0.565,2.185,0.63), (2.12,0.565,2.185,0.63), (2.12,0.565,2.397,0.63), (2.332,0.565,2.397,0.63), (2.332,0.565,2.397,0.63), (0.767,0.567,0.832,0.632), (2.367,0.567,2.432,0.632), (3.417,0.567,3.482,0.632), (4.517,0.567,4.582,0.632), (4.917,0.567,4.982,0.632), (5.467,0.567,5.532,0.632), (6.417,0.567,6.482,0.632), (0.277,0.92,0.342,1.195), (0.037,0.955,0.172,1.16), (0.067,1.017,0.132,1.082), (0.652,1.06,0.717,1.195), (0.997,1.097,1.132,1.302), (0.277,1.13,0.342,1.35), (0.652,1.13,0.717,1.35), (1.067,1.237,1.132,1.35), (0,1.285,6.65,1.4)])
R(complex109, boundary, [(0,0,6.65,1.4)])
complex109.add(gdstk.Label('A', (0.8,0.6), layer=11, texttype=0))
complex109.add(gdstk.Label('B', (6.45,0.6), layer=11, texttype=0))
complex109.add(gdstk.Label('C', (5.5,0.6), layer=11, texttype=0))
complex109.add(gdstk.Label('D', (4.95,0.6), layer=11, texttype=0))
complex109.add(gdstk.Label('E', (4.55,0.6), layer=11, texttype=0))
complex109.add(gdstk.Label('F', (1.3,0.5), layer=11, texttype=0))
complex109.add(gdstk.Label('G', (2.4,0.6), layer=11, texttype=0))
complex109.add(gdstk.Label('H', (3.45,0.6), layer=11, texttype=0))
complex109.add(gdstk.Label('Y', (0.1,1.05), layer=11, texttype=0))
complex109.add(gdstk.Label('VCC', (0,1.4), layer=11, texttype=0))
complex109.add(gdstk.Label('GND', (0,0), layer=11, texttype=0))

lib.write_gds('COMPLEX109.gds')
